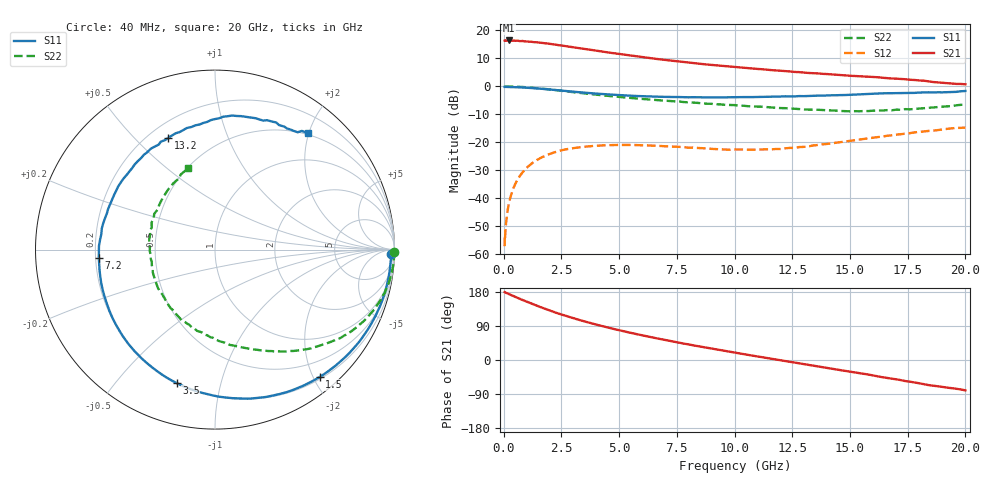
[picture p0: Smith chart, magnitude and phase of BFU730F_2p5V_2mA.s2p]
! Filename:  P:\Prog\Test\Noise\ATS_data\Testdata_Net\Split files Spar\BFU730_2W_B1_Bias2_2.5V_1mA_25mA_D.s2p
! Date/Time: Fri 29/Apr/2011 15:07:31
! BFU730_2W_B1_Bias2_2.5V_1mA_25mA_R.s2p
! MDIF S-parameter v. bias file
! BFU730_2W_B1_2.5V_1mA_25mA
! Date/time Thu Mar 17 13:38:09 2011
! VAR V_out= 2.5000
! VAR I_out= 1.9550
! VAR V_in= 0.7641
! VAR I_in= 0.0051
! Device data file deembeded for feedlines and parallel
! Original file: \Split files Spar\BFU730_2W_B1_Bias2_2.5V_1mA_25mA_R.s2p
! Feed-files: PR003V01_101208_Feed1.s2p, PR003V01_101208_Feed2.s2p
! Parallel-file: PR003V01_101208_Par.s2p
# MHz S MA R 50
!  Freq-MHz  S11-mag  S11-arg  S21-mag  S21-arg  S12-mag  S12-arg  S22-mag  S22-arg
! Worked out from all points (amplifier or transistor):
!   167 points, 40 MHz to 20 GHz, reference 50 ohm
!   highest |S21| = 16.4 dB at 240 MHz (marker M1)
!   |S21| within 3 dB of that: start of sweep to 3.481 GHz
!   unconditionally stable (mu >= 1): 8.554 GHz to 16.16 GHz
!   at 550 MHz: K = 0.03, MSG = 25.2 dB, |S12| = -34.1 dB
!   at 4.2 GHz: K = 0.37, MSG = 16.8 dB, |S12| = -21.1 dB
!   at 20 GHz: K = 0.73, MSG = 7.7 dB, |S12| = -14.7 dB
!   S11 on the Smith chart (normalised r, x): 40 MHz: 39, -51; 1.5 GHz: 0.23, -2.10; 3.5 GHz: 0.20, -0.73; 7.2 GHz: 0.21, -0.03; 13.2 GHz: 0.28, +0.63; 20 GHz: 0.48, +1.99
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40  0.9814 -1.4  6.612 179.2  0.001396 81.8  0.9986 -0.7
50  0.98 -2.2  6.635 178.4  0.002181 76.2  0.9986 -0.8
100  0.9816 -3.4  6.589 177.3  0.003523 85.7  0.9987 -1.6
240  0.9795 -8.3  6.638 173.6  0.008566 85.2  0.9978 -4.0
800  0.9607 -27.6  6.505 158.9  0.02854 73.4  0.9778 -13.3
1500  0.9186 -50.6  6.106 141.8  0.05003 58.8  0.9276 -24.2
1900  0.8893 -63.1  5.857 132.6  0.06 51.3  0.893 -29.7
2300  0.8572 -74.9  5.55 124.1  0.06846 44.4  0.8566 -35.0
2800  0.8193 -88.6  5.173 114.3  0.07642 36.2  0.8076 -40.5
3400  0.7793 -103.8  4.757 103.5  0.08276 28.0  0.7598 -46.8
3500  0.7737 -106.1  4.686 101.9  0.08363 26.8  0.7515 -47.7
4200  0.7351 -122.0  4.245 90.5  0.08799 18.7  0.6991 -54.0
4900  0.705 -136.6  3.855 80.0  0.08994 11.7  0.6552 -60.0
5800  0.6738 -153.4  3.425 67.7  0.08942 4.2  0.6068 -67.0
6800  0.6533 -170.0  3.038 55.2  0.08627 -1.9  0.5639 -74.8
7200  0.649 -176.0  2.911 50.5  0.08459 -3.5  0.5496 -77.8
8400  0.6398 166.8  2.573 36.7  0.07946 -6.6  0.5083 -87.9
10200  0.6447 144.4  2.191 17.4  0.07473 -5.7  0.4546 -104.7
13200  0.6753 112.7  1.742 -12.8  0.08462 2.0  0.3852 -139.8
13400  0.6792 110.8  1.728 -14.7  0.08806 2.2  0.3851 -143.0
16800  0.7576 79.0  1.387 -49.0  0.1335 -5.4  0.3735 160.6
20000  0.8296 51.3  1.093 -80.2  0.1839 -26.4  0.4778 108.2
